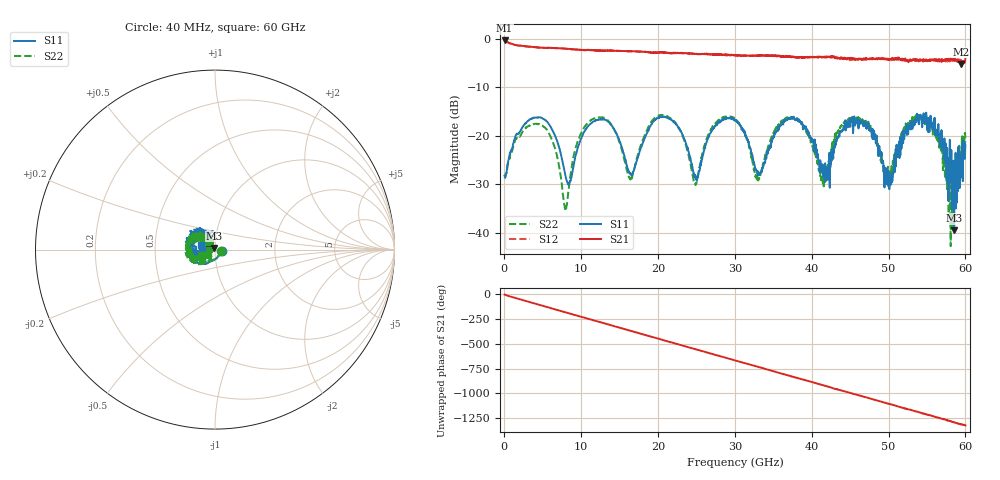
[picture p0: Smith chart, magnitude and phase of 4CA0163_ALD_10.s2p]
! File created by 'SoftPlot +Plus+ Measurement Management Software'
! SoftPlot +Plus+ Measurement Management Software
! Start 40.000000 MHz  Stop 60.000000 GHz  Points 1601
# MHZ S RI R 50
! S-Parameter data, F S11 S21 S12 S22
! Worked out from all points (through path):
!   1601 points, 40 MHz to 60 GHz, reference 50 ohm
!   highest |S21| = -0.35 dB at 40 MHz (marker M1); lowest = -5.2 dB at 59.4 GHz (marker M2)
!   group delay of S21, straight-line fit = 61.1 ps
!   lowest |S11| = -39.5 dB at 58.54 GHz (marker M3), VSWR 1.02, Z = 49.5 + j0.937 ohm
!   |S11| at or under -10 dB: start of sweep to end of sweep
!   |S22| runs from -42.7 to -15.5 dB; largest |S21 - S12| = 0.061
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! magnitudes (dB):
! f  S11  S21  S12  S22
! 40 MHz  -28.2  -0.4  -0.3  -28.8
! 4.762 GHz  -16.2  -1.9  -1.8  -17.7
! 7.985 GHz  -28.4  -2.0  -2.1  -35.5
! 10.05 GHz  -20.4  -2.3  -2.3  -19.3
! 13.42 GHz  -16.9  -2.5  -2.4  -16.7
! 16.42 GHz  -27.9  -2.5  -2.6  -29.0
! 20.05 GHz  -16.2  -2.9  -2.8  -15.9
! 22.71 GHz  -18.5  -3.0  -2.9  -18.3
! 24.85 GHz  -28.4  -3.1  -3.1  -30.0
! 27.06 GHz  -18.7  -3.2  -3.1  -18.2
! 30.02 GHz  -16.8  -3.3  -3.3  -16.4
! 32.98 GHz  -28.2  -3.5  -3.4  -29.6
! 36.5 GHz  -16.8  -3.7  -3.8  -16.5
! 40.03 GHz  -21.3  -3.7  -3.8  -21.7
! 41.52 GHz  -27.7  -3.8  -3.8  -28.2
! 43.77 GHz  -19.0  -4.0  -3.9  -18.0
! 46.36 GHz  -17.3  -4.2  -4.1  -16.7
! 50.03 GHz  -27.5  -4.2  -4.2  -27.9
! 54.72 GHz  -16.8  -4.3  -4.4  -16.5
! 58.54 GHz  -39.5  -4.2  -4.3  -27.3
! 59.4 GHz  -28.6  -5.2  -4.6  -23.3
! 60 GHz  -21.9  -4.2  -4.8  -21.3
